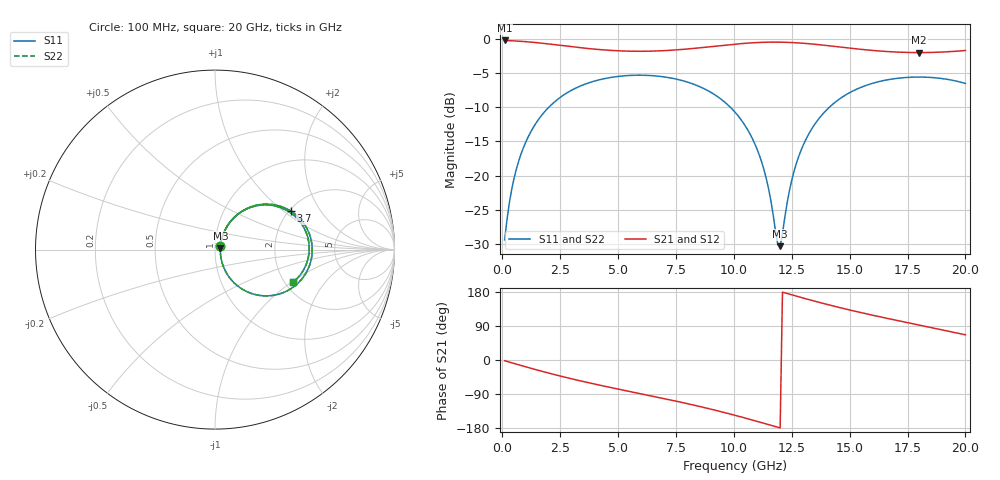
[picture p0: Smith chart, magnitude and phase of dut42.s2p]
! Touchstone file exported from HFSS 2026.1.0
!  File:  C:/ffzhzh/LocalFiles/Ansys_Project_Files/temp_train_TSV_RDL_42_1782965702_45308.aedt
!  Generated:  12:30:28 PM Jul  2, 2026
!  Design:  TSV_RDL
!  Project:  temp_train_TSV_RDL_42_1782965702_45308
! Variables:
!  h_bsmrdl = 2.97um
!  h_ox = 20um
!  h_rdl = 5um
!  h_sub = 63.42um
!  h_tmrdl = 4.36um
!  h_tsv = 63.42um
!  h_via = 3um
!  l_bsmrdl = 781.13um
!  l_sub = 5227.99um
!  l_tmrdl = 592.98um
!  m_sub = 200um
!  pitch = 41.26um
!  r_tsv = 4.01um
!  s_tmrdl = 10um
!  w_bsmrdl = 19.89um
!  w_sub = 500um
!  w_tmrdl = 17.67um
!  x_tsv_center1 = 601.815um
!  x_tsv_center2 = 1402.835um
!  x_tsv_center3 = 2013.485um
!  x_tsv_center4 = 2814.505um
!  x_tsv_center5 = 3425.155um
!  x_tsv_center6 = 4226.175um
# GHz S MA R 50.000000
! Terminal data exported
! Port[1] = TM_RDL1_1_T1
! Port[2] = TM_RDL5_1_T1
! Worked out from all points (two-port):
!   200 points, 100 MHz to 20 GHz, reference 50 ohm
!   highest |S21| = -0.25 dB at 100 MHz (marker M1); lowest = -2.0 dB at 18 GHz (marker M2)
!   |S21| within 3 dB of the highest: start of sweep to end of sweep
!   lowest |S11| = -30.3 dB at 12 GHz (marker M3), VSWR 1.06, Z = 53.1 + j0.665 ohm
!   |S11| at or under -10 dB: start of sweep to 2.011 GHz; 9.845 GHz to 14.13 GHz (4.281 GHz wide, 35.7 % of centre)
!   |S22| runs from -30.3 to -5.3 dB; largest |S21 - S12| = 2e-14
!   S11 on the Smith chart (normalised r, x): 100 MHz: 1.06, +0.04; 3.7 GHz: 2.05, +1.13; 20 GHz: 2.21, -1.03
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0.1  0.03388 32.0  0.9717 -1.9  0.9717 -1.9  0.03388 32.0
! Gamma 0 0 0 0
! Port Impedance 50 0 50 0
0.3  0.06251 55.8  0.9685 -5.5  0.9685 -5.5  0.06251 55.8
0.5  0.09435 61.5  0.9647 -9.1  0.9647 -9.1  0.09435 61.5
1.2  0.2043 59.5  0.9464 -21.3  0.9464 -21.3  0.2043 59.5
2.2  0.3392 46.8  0.908 -37.7  0.908 -37.7  0.3392 46.8
3.5  0.4608 29.4  0.8556 -56.9  0.8556 -56.9  0.4608 29.4
3.7  0.4742 26.8  0.8486 -59.6  0.8486 -59.6  0.4742 26.8
5.3  0.5368 7.0  0.813 -80.5  0.813 -80.5  0.5368 7.0
6.8  0.5313 -11.0  0.8158 -99.5  0.8158 -99.5  0.5313 -11.0
8.6  0.441 -33.7  0.8612 -123.7  0.8612 -123.7  0.441 -33.7
10.1  0.2843 -53.8  0.9146 -146.7  0.9146 -146.7  0.2843 -53.8
10.7  0.2013 -61.0  0.9317 -156.7  0.9317 -156.7  0.2012 -61.0
11.2  0.126 -64.1  0.9412 -165.3  0.9412 -165.3  0.126 -64.2
11.5  0.0802 -61.1  0.9442 -170.5  0.9442 -170.5  0.08012 -61.2
11.9  0.03118 -17.1  0.9448 -177.5  0.9448 -177.5  0.03104 -17.1
12  0.03053 11.8  0.9443 -179.3  0.9443 -179.3  0.03041 11.9
12.6  0.1076 62.6  0.9365 170.3  0.9365 170.3  0.1076 62.6
13.4  0.2244 57.9  0.9146 156.8  0.9146 156.8  0.2244 57.9
14.8  0.386 40.1  0.8618 134.9  0.8618 134.9  0.386 40.1
16.7  0.5036 16.4  0.8047 108.9  0.8047 108.9  0.5036 16.4
18  0.5251 1.0  0.7924 92.4  0.7924 92.4  0.5251 1.1
20  0.4712 -22.7  0.8203 66.5  0.8203 66.5  0.4713 -22.7
